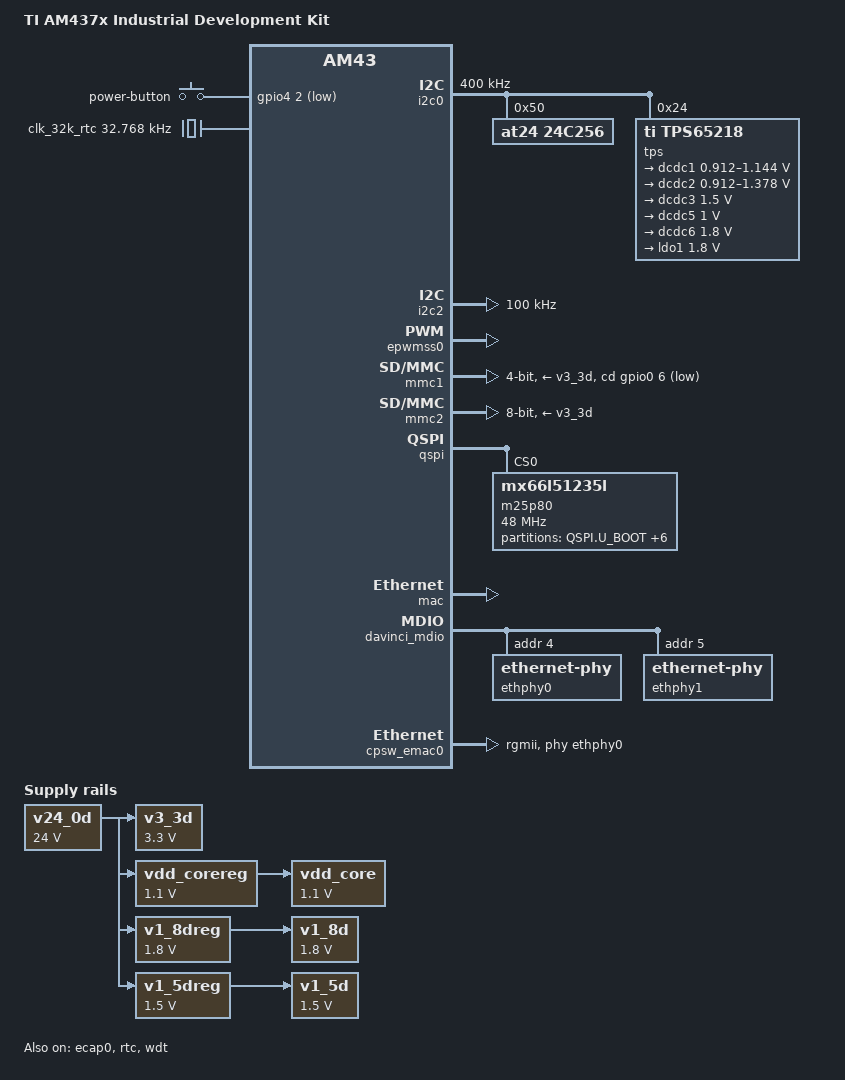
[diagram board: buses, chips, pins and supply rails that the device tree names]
/*
 * Copyright (C) 2014 Texas Instruments Incorporated - http://www.ti.com/
 *
 * This program is free software; you can redistribute it and/or modify
 * it under the terms of the GNU General Public License version 2 as
 * published by the Free Software Foundation.
 */

/dts-v1/;

#include "am4372.dtsi"
#include <dt-bindings/pinctrl/am43xx.h>
#include <dt-bindings/pwm/pwm.h>
#include <dt-bindings/gpio/gpio.h>
#include <dt-bindings/input/input.h>

/ {
	model = "TI AM437x Industrial Development Kit";
	compatible = "ti,am437x-idk-evm","ti,am4372","ti,am43";

	chosen {
		stdout-path = &uart0;
		tick-timer = &timer2;
	};

	v24_0d: fixed-regulator-v24_0d {
		compatible = "regulator-fixed";
		regulator-name = "V24_0D";
		regulator-min-microvolt = <24000000>;
		regulator-max-microvolt = <24000000>;
		regulator-always-on;
		regulator-boot-on;
	};

	v3_3d: fixed-regulator-v3_3d {
		compatible = "regulator-fixed";
		regulator-name = "V3_3D";
		regulator-min-microvolt = <3300000>;
		regulator-max-microvolt = <3300000>;
		regulator-always-on;
		regulator-boot-on;
		vin-supply = <&v24_0d>;
	};

	vdd_corereg: fixed-regulator-vdd_corereg {
		compatible = "regulator-fixed";
		regulator-name = "VDD_COREREG";
		regulator-min-microvolt = <1100000>;
		regulator-max-microvolt = <1100000>;
		regulator-always-on;
		regulator-boot-on;
		vin-supply = <&v24_0d>;
	};

	vdd_core: fixed-regulator-vdd_core {
		compatible = "regulator-fixed";
		regulator-name = "VDD_CORE";
		regulator-min-microvolt = <1100000>;
		regulator-max-microvolt = <1100000>;
		regulator-always-on;
		regulator-boot-on;
		vin-supply = <&vdd_corereg>;
	};

	v1_8dreg: fixed-regulator-v1_8dreg{
		compatible = "regulator-fixed";
		regulator-name = "V1_8DREG";
		regulator-min-microvolt = <1800000>;
		regulator-max-microvolt = <1800000>;
		regulator-always-on;
		regulator-boot-on;
		vin-supply = <&v24_0d>;
	};

	v1_8d: fixed-regulator-v1_8d{
		compatible = "regulator-fixed";
		regulator-name = "V1_8D";
		regulator-min-microvolt = <1800000>;
		regulator-max-microvolt = <1800000>;
		regulator-always-on;
		regulator-boot-on;
		vin-supply = <&v1_8dreg>;
	};

	v1_5dreg: fixed-regulator-v1_5dreg{
		compatible = "regulator-fixed";
		regulator-name = "V1_5DREG";
		regulator-min-microvolt = <1500000>;
		regulator-max-microvolt = <1500000>;
		regulator-always-on;
		regulator-boot-on;
		vin-supply = <&v24_0d>;
	};

	v1_5d: fixed-regulator-v1_5d{
		compatible = "regulator-fixed";
		regulator-name = "V1_5D";
		regulator-min-microvolt = <1500000>;
		regulator-max-microvolt = <1500000>;
		regulator-always-on;
		regulator-boot-on;
		vin-supply = <&v1_5dreg>;
	};

	gpio_keys: gpio_keys {
		compatible = "gpio-keys";
		pinctrl-names = "default";
		pinctrl-0 = <&gpio_keys_pins_default>;

		switch@0 {
			label = "power-button";
			linux,code = <KEY_POWER>;
			gpios = <&gpio4 2 GPIO_ACTIVE_LOW>;
		};
	};

	/* fixed 32k external oscillator clock */
	clk_32k_rtc: clk_32k_rtc {
		#clock-cells = <0>;
		compatible = "fixed-clock";
		clock-frequency = <32768>;
	};
};

&am43xx_pinmux {
	gpio_keys_pins_default: gpio_keys_pins_default {
		pinctrl-single,pins = <
			AM4372_IOPAD(0x9b8, PIN_INPUT | MUX_MODE7)	/* cam0_field.gpio4_2 */
		>;
	};

	i2c0_pins_default: i2c0_pins_default {
		pinctrl-single,pins = <
			AM4372_IOPAD(0x988, PIN_INPUT | SLEWCTRL_FAST | MUX_MODE0) /* i2c0_sda.i2c0_sda */
			AM4372_IOPAD(0x98c, PIN_INPUT | SLEWCTRL_FAST | MUX_MODE0) /* i2c0_scl.i2c0_scl */
		>;
	};

	i2c0_pins_sleep: i2c0_pins_sleep {
		pinctrl-single,pins = <
			AM4372_IOPAD(0x988, PIN_INPUT_PULLDOWN | MUX_MODE7)
			AM4372_IOPAD(0x98c, PIN_INPUT_PULLDOWN | MUX_MODE7)
		>;
	};

	i2c2_pins_default: i2c2_pins_default {
		pinctrl-single,pins = <
			AM4372_IOPAD(0x9e8, PIN_INPUT | SLEWCTRL_FAST | MUX_MODE3) /* cam1_data1.i2c2_scl */
			AM4372_IOPAD(0x9ec, PIN_INPUT | SLEWCTRL_FAST | MUX_MODE3) /* cam1_data0.i2c2_sda */
		>;
	};

	i2c2_pins_sleep: i2c2_pins_sleep {
		pinctrl-single,pins = <
			AM4372_IOPAD(0x9e8, PIN_INPUT_PULLDOWN | MUX_MODE7)
			AM4372_IOPAD(0x9ec, PIN_INPUT_PULLDOWN | MUX_MODE7)
		>;
	};

	mmc1_pins_default: pinmux_mmc1_pins_default {
		pinctrl-single,pins = <
			AM4372_IOPAD(0x900, PIN_INPUT | MUX_MODE0) /* mmc0_clk.mmc0_clk */
			AM4372_IOPAD(0x904, PIN_INPUT | MUX_MODE0) /* mmc0_cmd.mmc0_cmd */
			AM4372_IOPAD(0x9f0, PIN_INPUT | MUX_MODE0) /* mmc0_dat3.mmc0_dat3 */
			AM4372_IOPAD(0x9f4, PIN_INPUT | MUX_MODE0) /* mmc0_dat2.mmc0_dat2 */
			AM4372_IOPAD(0x9f8, PIN_INPUT | MUX_MODE0) /* mmc0_dat1.mmc0_dat1 */
			AM4372_IOPAD(0x9fc, PIN_INPUT | MUX_MODE0) /* mmc0_dat0.mmc0_dat0 */
			AM4372_IOPAD(0x960, PIN_INPUT | MUX_MODE7) /* spi0_cs1.gpio0_6 */
		>;
	};

	mmc1_pins_sleep: pinmux_mmc1_pins_sleep {
		pinctrl-single,pins = <
			AM4372_IOPAD(0x900, PIN_INPUT_PULLDOWN | MUX_MODE7)
			AM4372_IOPAD(0x904, PIN_INPUT_PULLDOWN | MUX_MODE7)
			AM4372_IOPAD(0x9f0, PIN_INPUT_PULLDOWN | MUX_MODE7)
			AM4372_IOPAD(0x9f4, PIN_INPUT_PULLDOWN | MUX_MODE7)
			AM4372_IOPAD(0x9f8, PIN_INPUT_PULLDOWN | MUX_MODE7)
			AM4372_IOPAD(0x9fc, PIN_INPUT_PULLDOWN | MUX_MODE7)
			AM4372_IOPAD(0x960, PIN_INPUT_PULLDOWN | MUX_MODE7)
		>;
	};

	mmc2_pins_default: mmc2_pins_default {
		pinctrl-single,pins = <
			AM4372_IOPAD(0x880, PIN_INPUT | MUX_MODE2) /* (B9) gpmc_csn1.mmc1_clk */
			AM4372_IOPAD(0x884, PIN_INPUT_PULLUP | MUX_MODE2) /* (F10) gpmc_csn2.mmc1_cmd */
			AM4372_IOPAD(0x820, PIN_INPUT_PULLUP | MUX_MODE2) /* (B10) gpmc_ad8.mmc1_dat0 */
			AM4372_IOPAD(0x824, PIN_INPUT_PULLUP | MUX_MODE2) /* (A10) gpmc_ad9.mmc1_dat1 */
			AM4372_IOPAD(0x828, PIN_INPUT_PULLUP | MUX_MODE2) /* (F11) gpmc_ad10.mmc1_dat2 */
			AM4372_IOPAD(0x82c, PIN_INPUT_PULLUP | MUX_MODE2) /* (D11) gpmc_ad11.mmc1_dat3 */
			AM4372_IOPAD(0x830, PIN_INPUT_PULLUP | MUX_MODE2) /* (E11) gpmc_ad12.mmc1_dat4 */
			AM4372_IOPAD(0x834, PIN_INPUT_PULLUP | MUX_MODE2) /* (C11) gpmc_ad13.mmc1_dat5 */
			AM4372_IOPAD(0x838, PIN_INPUT_PULLUP | MUX_MODE2) /* (B11) gpmc_ad14.mmc1_dat6 */
			AM4372_IOPAD(0x83c, PIN_INPUT_PULLUP | MUX_MODE2) /* (A11) gpmc_ad15.mmc1_dat7 */
		>;
	};

	mmc2_pins_sleep: mmc2_pins_sleep {
		pinctrl-single,pins = <
			AM4372_IOPAD(0x880, PIN_INPUT_PULLDOWN | MUX_MODE7) /* (B9) gpmc_csn1.mmc1_clk */
			AM4372_IOPAD(0x884, PIN_INPUT_PULLDOWN | MUX_MODE7) /* (F10) gpmc_csn2.mmc1_cmd */
			AM4372_IOPAD(0x820, PIN_INPUT_PULLDOWN | MUX_MODE7) /* (B10) gpmc_ad8.mmc1_dat0 */
			AM4372_IOPAD(0x824, PIN_INPUT_PULLDOWN | MUX_MODE7) /* (A10) gpmc_ad9.mmc1_dat1 */
			AM4372_IOPAD(0x828, PIN_INPUT_PULLDOWN | MUX_MODE7) /* (F11) gpmc_ad10.mmc1_dat2 */
			AM4372_IOPAD(0x82c, PIN_INPUT_PULLDOWN | MUX_MODE7) /* (D11) gpmc_ad11.mmc1_dat3 */
			AM4372_IOPAD(0x830, PIN_INPUT_PULLDOWN | MUX_MODE7) /* (E11) gpmc_ad12.mmc1_dat4 */
			AM4372_IOPAD(0x834, PIN_INPUT_PULLDOWN | MUX_MODE7) /* (C11) gpmc_ad13.mmc1_dat5 */
			AM4372_IOPAD(0x838, PIN_INPUT_PULLDOWN | MUX_MODE7) /* (B11) gpmc_ad14.mmc1_dat6 */
			AM4372_IOPAD(0x83c, PIN_INPUT_PULLDOWN | MUX_MODE7) /* (A11) gpmc_ad15.mmc1_dat7 */
		>;
	};

	ecap0_pins_default: backlight_pins_default {
		pinctrl-single,pins = <
			AM4372_IOPAD(0x964, PIN_OUTPUT | MUX_MODE0) /* ecap0_in_pwm0_out.ecap0_in_pwm0_out */
		>;
	};

	cpsw_default: cpsw_default {
		pinctrl-single,pins = <
			AM4372_IOPAD(0x92c, PIN_OUTPUT | MUX_MODE2)	/* mii1_txclk.rgmii1_tclk */
			AM4372_IOPAD(0x914, PIN_OUTPUT | MUX_MODE2)	/* mii1_txen.rgmii1_tctl */
			AM4372_IOPAD(0x928, PIN_OUTPUT | MUX_MODE2)	/* mii1_txd0.rgmii1_td0 */
			AM4372_IOPAD(0x924, PIN_OUTPUT | MUX_MODE2)	/* mii1_txd1.rgmii1_td1 */
			AM4372_IOPAD(0x920, PIN_OUTPUT | MUX_MODE2)	/* mii1_txd0.rgmii1_td2 */
			AM4372_IOPAD(0x91c, PIN_OUTPUT | MUX_MODE2)	/* mii1_txd1.rgmii1_td3 */
			AM4372_IOPAD(0x930, PIN_INPUT | MUX_MODE2)	/* mii1_rxclk.rmii1_rclk */
			AM4372_IOPAD(0x918, PIN_INPUT | MUX_MODE2)	/* mii1_rxdv.rgmii1_rctl */
			AM4372_IOPAD(0x940, PIN_INPUT | MUX_MODE2)	/* mii1_rxd0.rgmii1_rd0 */
			AM4372_IOPAD(0x93c, PIN_INPUT | MUX_MODE2)	/* mii1_rxd1.rgmii1_rd1 */
			AM4372_IOPAD(0x938, PIN_INPUT | MUX_MODE2)	/* mii1_rxd0.rgmii1_rd2 */
			AM4372_IOPAD(0x934, PIN_INPUT | MUX_MODE2)	/* mii1_rxd1.rgmii1_rd3 */

			/* Slave 2 */
			AM4372_IOPAD(0x858, PIN_OUTPUT | MUX_MODE2)	/* gpmc_a6.rgmii2_tclk */
			AM4372_IOPAD(0x840, PIN_OUTPUT | MUX_MODE2)	/* gpmc_a0.rgmii2_tctl */
			AM4372_IOPAD(0x854, PIN_OUTPUT | MUX_MODE2)	/* gpmc_a5.rgmii2_td0 */
			AM4372_IOPAD(0x850, PIN_OUTPUT | MUX_MODE2)	/* gpmc_a4.rgmii2_td1 */
			AM4372_IOPAD(0x84c, PIN_OUTPUT | MUX_MODE2)	/* gpmc_a3.rgmii2_td2 */
			AM4372_IOPAD(0x848, PIN_OUTPUT | MUX_MODE2)	/* gpmc_a2.rgmii2_td3 */
			AM4372_IOPAD(0x85c, PIN_INPUT | MUX_MODE2)	/* gpmc_a7.rgmii2_rclk */
			AM4372_IOPAD(0x844, PIN_INPUT | MUX_MODE2)	/* gpmc_a1.rgmii2_rtcl */
			AM4372_IOPAD(0x86c, PIN_INPUT | MUX_MODE2)	/* gpmc_a11.rgmii2_rd0 */
			AM4372_IOPAD(0x868, PIN_INPUT | MUX_MODE2)	/* gpmc_a10.rgmii2_rd1 */
			AM4372_IOPAD(0x864, PIN_INPUT | MUX_MODE2)	/* gpmc_a9.rgmii2_rd2 */
			AM4372_IOPAD(0x860, PIN_INPUT | MUX_MODE2)	/* gpmc_a8.rgmii2_rd3 */
		>;
	};

	cpsw_sleep: cpsw_sleep {
		pinctrl-single,pins = <
			AM4372_IOPAD(0x92c, PIN_INPUT_PULLDOWN | MUX_MODE7)
			AM4372_IOPAD(0x914, PIN_INPUT_PULLDOWN | MUX_MODE7)
			AM4372_IOPAD(0x928, PIN_INPUT_PULLDOWN | MUX_MODE7)
			AM4372_IOPAD(0x924, PIN_INPUT_PULLDOWN | MUX_MODE7)
			AM4372_IOPAD(0x920, PIN_INPUT_PULLDOWN | MUX_MODE7)
			AM4372_IOPAD(0x91c, PIN_INPUT_PULLDOWN | MUX_MODE7)
			AM4372_IOPAD(0x930, PIN_INPUT_PULLDOWN | MUX_MODE7)
			AM4372_IOPAD(0x918, PIN_INPUT_PULLDOWN | MUX_MODE7)
			AM4372_IOPAD(0x940, PIN_INPUT_PULLDOWN | MUX_MODE7)
			AM4372_IOPAD(0x93c, PIN_INPUT_PULLDOWN | MUX_MODE7)
			AM4372_IOPAD(0x938, PIN_INPUT_PULLDOWN | MUX_MODE7)
			AM4372_IOPAD(0x934, PIN_INPUT_PULLDOWN | MUX_MODE7)

			/* Slave 2 reset value */
			AM4372_IOPAD(0x858, PIN_INPUT_PULLDOWN | MUX_MODE7)
			AM4372_IOPAD(0x840, PIN_INPUT_PULLDOWN | MUX_MODE7)
			AM4372_IOPAD(0x854, PIN_INPUT_PULLDOWN | MUX_MODE7)
			AM4372_IOPAD(0x850, PIN_INPUT_PULLDOWN | MUX_MODE7)
			AM4372_IOPAD(0x84c, PIN_INPUT_PULLDOWN | MUX_MODE7)
			AM4372_IOPAD(0x848, PIN_INPUT_PULLDOWN | MUX_MODE7)
			AM4372_IOPAD(0x85c, PIN_INPUT_PULLDOWN | MUX_MODE7)
			AM4372_IOPAD(0x844, PIN_INPUT_PULLDOWN | MUX_MODE7)
			AM4372_IOPAD(0x86c, PIN_INPUT_PULLDOWN | MUX_MODE7)
			AM4372_IOPAD(0x868, PIN_INPUT_PULLDOWN | MUX_MODE7)
			AM4372_IOPAD(0x864, PIN_INPUT_PULLDOWN | MUX_MODE7)
			AM4372_IOPAD(0x860, PIN_INPUT_PULLDOWN | MUX_MODE7)
		>;
	};

	davinci_mdio_default: davinci_mdio_default {
		pinctrl-single,pins = <
			/* MDIO */
			AM4372_IOPAD(0x948, PIN_INPUT | SLEWCTRL_FAST | MUX_MODE0)	/* mdio_data.mdio_data */
			AM4372_IOPAD(0x94c, PIN_OUTPUT | MUX_MODE0)			/* mdio_clk.mdio_clk */
		>;
	};

	davinci_mdio_sleep: davinci_mdio_sleep {
		pinctrl-single,pins = <
			/* MDIO reset value */
			AM4372_IOPAD(0x948, PIN_INPUT_PULLDOWN | MUX_MODE7)
			AM4372_IOPAD(0x94c, PIN_INPUT_PULLDOWN | MUX_MODE7)
		>;
	};

	qspi_pins_default: qspi_pins_default {
		pinctrl-single,pins = <
			AM4372_IOPAD(0x87c, PIN_OUTPUT_PULLUP | MUX_MODE3)	/* gpmc_csn0.qspi_csn */
			AM4372_IOPAD(0x888, PIN_OUTPUT | MUX_MODE2)		/* gpmc_csn3.qspi_clk */
			AM4372_IOPAD(0x890, PIN_INPUT_PULLUP | MUX_MODE3)	/* gpmc_advn_ale.qspi_d0 */
			AM4372_IOPAD(0x894, PIN_INPUT_PULLUP | MUX_MODE3)	/* gpmc_oen_ren.qspi_d1 */
			AM4372_IOPAD(0x898, PIN_INPUT_PULLUP | MUX_MODE3)	/* gpmc_wen.qspi_d2 */
			AM4372_IOPAD(0x89c, PIN_INPUT_PULLUP | MUX_MODE3)	/* gpmc_be0n_cle.qspi_d3 */
		>;
	};

	qspi_pins_sleep: qspi_pins_sleep{
		pinctrl-single,pins = <
			AM4372_IOPAD(0x87c, PIN_INPUT_PULLDOWN | MUX_MODE7)
			AM4372_IOPAD(0x888, PIN_INPUT_PULLDOWN | MUX_MODE7)
			AM4372_IOPAD(0x890, PIN_INPUT_PULLDOWN | MUX_MODE7)
			AM4372_IOPAD(0x894, PIN_INPUT_PULLDOWN | MUX_MODE7)
			AM4372_IOPAD(0x898, PIN_INPUT_PULLDOWN | MUX_MODE7)
			AM4372_IOPAD(0x89c, PIN_INPUT_PULLDOWN | MUX_MODE7)
		>;
	};
};

&i2c0 {
	status = "okay";
	pinctrl-names = "default", "sleep";
	pinctrl-0 = <&i2c0_pins_default>;
	pinctrl-1 = <&i2c0_pins_sleep>;
	clock-frequency = <400000>;

	at24@50 {
		compatible = "at24,24c256";
		pagesize = <64>;
		reg = <0x50>;
	};

	tps: tps65218@24 {
		reg = <0x24>;
		compatible = "ti,tps65218";
		interrupts = <GIC_SPI 7 IRQ_TYPE_NONE>; /* NMIn */
		interrupt-controller;
		#interrupt-cells = <2>;

		dcdc1: regulator-dcdc1 {
			compatible = "ti,tps65218-dcdc1";
			regulator-name = "vdd_core";
			regulator-min-microvolt = <912000>;
			regulator-max-microvolt = <1144000>;
			regulator-boot-on;
			regulator-always-on;
		};

		dcdc2: regulator-dcdc2 {
			compatible = "ti,tps65218-dcdc2";
			regulator-name = "vdd_mpu";
			regulator-min-microvolt = <912000>;
			regulator-max-microvolt = <1378000>;
			regulator-boot-on;
			regulator-always-on;
		};

		dcdc3: regulator-dcdc3 {
			compatible = "ti,tps65218-dcdc3";
			regulator-name = "vdcdc3";
			regulator-min-microvolt = <1500000>;
			regulator-max-microvolt = <1500000>;
			regulator-boot-on;
			regulator-always-on;
		};
		dcdc5: regulator-dcdc5 {
			compatible = "ti,tps65218-dcdc5";
			regulator-name = "v1_0bat";
			regulator-min-microvolt = <1000000>;
			regulator-max-microvolt = <1000000>;
		};

		dcdc6: regulator-dcdc6 {
			compatible = "ti,tps65218-dcdc6";
			regulator-name = "v1_8bat";
			regulator-min-microvolt = <1800000>;
			regulator-max-microvolt = <1800000>;
		};

		ldo1: regulator-ldo1 {
			compatible = "ti,tps65218-ldo1";
			regulator-min-microvolt = <1800000>;
			regulator-max-microvolt = <1800000>;
			regulator-boot-on;
			regulator-always-on;
		};
	};
};

&i2c2 {
	status = "okay";
	pinctrl-names = "default", "sleep";
	pinctrl-0 = <&i2c2_pins_default>;
	pinctrl-1 = <&i2c2_pins_sleep>;
	clock-frequency = <100000>;
};

&epwmss0 {
	status = "okay";
};

&ecap0 {
	status = "okay";
	pinctrl-names = "default";
	pinctrl-0 = <&ecap0_pins_default>;
};

&gpio0 {
	status = "okay";
};

&gpio1 {
	status = "okay";
};

&gpio4 {
	status = "okay";
};

&gpio5 {
	status = "okay";
};

&mmc1 {
	status = "okay";
	pinctrl-names = "default", "sleep";
	pinctrl-0 = <&mmc1_pins_default>;
	pinctrl-1 = <&mmc1_pins_sleep>;
	vmmc-supply = <&v3_3d>;
	bus-width = <4>;
	cd-gpios = <&gpio0 6 GPIO_ACTIVE_LOW>;
};

&mmc2 {
	status = "okay";
	pinctrl-names = "default";
	pinctrl-0 = <&mmc2_pins_default>;
	vmmc-supply = <&v3_3d>;
	bus-width = <8>;
	ti,non-removable;
	max-frequency = <96000000>;
	no-1-8-v;
	/delete-property/ mmc-hs200-1_8v;
};

&qspi {
	status = "okay";
	pinctrl-names = "default", "sleep";
	pinctrl-0 = <&qspi_pins_default>;
	pinctrl-1 = <&qspi_pins_sleep>;

	spi-max-frequency = <48000000>;
	m25p80@0 {
		compatible = "mx66l51235l", "jedec,spi-nor";
		spi-max-frequency = <48000000>;
		reg = <0>;
		spi-cpol;
		spi-cpha;
		spi-tx-bus-width = <1>;
		spi-rx-bus-width = <4>;
		#address-cells = <1>;
		#size-cells = <1>;

		/*
		 * MTD partition table.  The ROM checks the first 512KiB for a
		 * valid file to boot(XIP).
		 */
		partition@0 {
			label = "QSPI.U_BOOT";
			reg = <0x00000000 0x000080000>;
		};
		partition@1 {
			label = "QSPI.U_BOOT.backup";
			reg = <0x00080000 0x00080000>;
		};
		partition@2 {
			label = "QSPI.U-BOOT-SPL_OS";
			reg = <0x00100000 0x00010000>;
		};
		partition@3 {
			label = "QSPI.U_BOOT_ENV";
			reg = <0x00110000 0x00010000>;
		};
		partition@4 {
			label = "QSPI.U-BOOT-ENV.backup";
			reg = <0x00120000 0x00010000>;
		};
		partition@5 {
			label = "QSPI.KERNEL";
			reg = <0x00130000 0x0800000>;
		};
		partition@6 {
			label = "QSPI.FILESYSTEM";
			reg = <0x00930000 0x36D0000>;
		};
	};
};

&mac {
	pinctrl-names = "default", "sleep";
	pinctrl-0 = <&cpsw_default>;
	pinctrl-1 = <&cpsw_sleep>;
	dual_emac = <1>;
	status = "okay";
};

&davinci_mdio {
	pinctrl-names = "default", "sleep";
	pinctrl-0 = <&davinci_mdio_default>;
	pinctrl-1 = <&davinci_mdio_sleep>;
	status = "okay";

	ethphy0: ethernet-phy@4 {
		reg = <4>;
	};

	ethphy1: ethernet-phy@5 {
		reg = <5>;
	};
};

&cpsw_emac0 {
	phy-handle = <&ethphy0>;
	phy-mode = "rgmii";
};

&rtc {
	clocks = <&clk_32k_rtc>, <&clk_32768_ck>;
	clock-names = "ext-clk", "int-clk";
	status = "okay";
};

&wdt {
	status = "okay";
};

&cpu {
	cpu0-supply = <&tps>;
};
